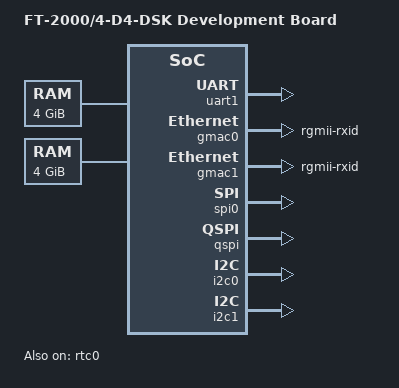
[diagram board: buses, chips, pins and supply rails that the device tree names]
// SPDX-License-Identifier: GPL-2.0
/*
 * DTS file for phytium FT-2000/4 devboard (FT-2000/4-D4-DSK series)
 *
 * Copyright (C) 2018-2019, Phytium Technology Co., Ltd.
 */

/dts-v1/;
/memreserve/ 0x80000000 0x10000;

#include "ft2004-generic-psci-soc.dtsi"

/{
	model = "FT-2000/4-D4-DSK Development Board";
	compatible = "phytium,ft-2004";
	#address-cells = <2>;
	#size-cells = <2>;

	chosen {
		stdout-path = "uart1:115200n8";
	};

	memory@00{
		device_type = "memory";
		reg = <0x0 0x80000000 0x1 0x00000000>;
	};

	memory@01{
		device_type = "memory";
		reg = <0x20 0x00000000 0x1 0x00000000>;
	};

	firmware {
		optee {
			compatible = "linaro,optee-tz";
			method = "smc";
		};
	};
};

&rtc0 {
	status = "ok";
};

&uart1 {
	status = "ok";
};

&gmac0 {
	status = "ok";
	phy-mode = "rgmii-rxid";
};

&gmac1 {
	status = "ok";
	phy-mode = "rgmii-rxid";
};

&spi0 {
	status = "ok";
};

&qspi {
	status = "ok";
};

&i2c0 {
	status = "ok";
};

&i2c1 {
	status = "ok";
};
